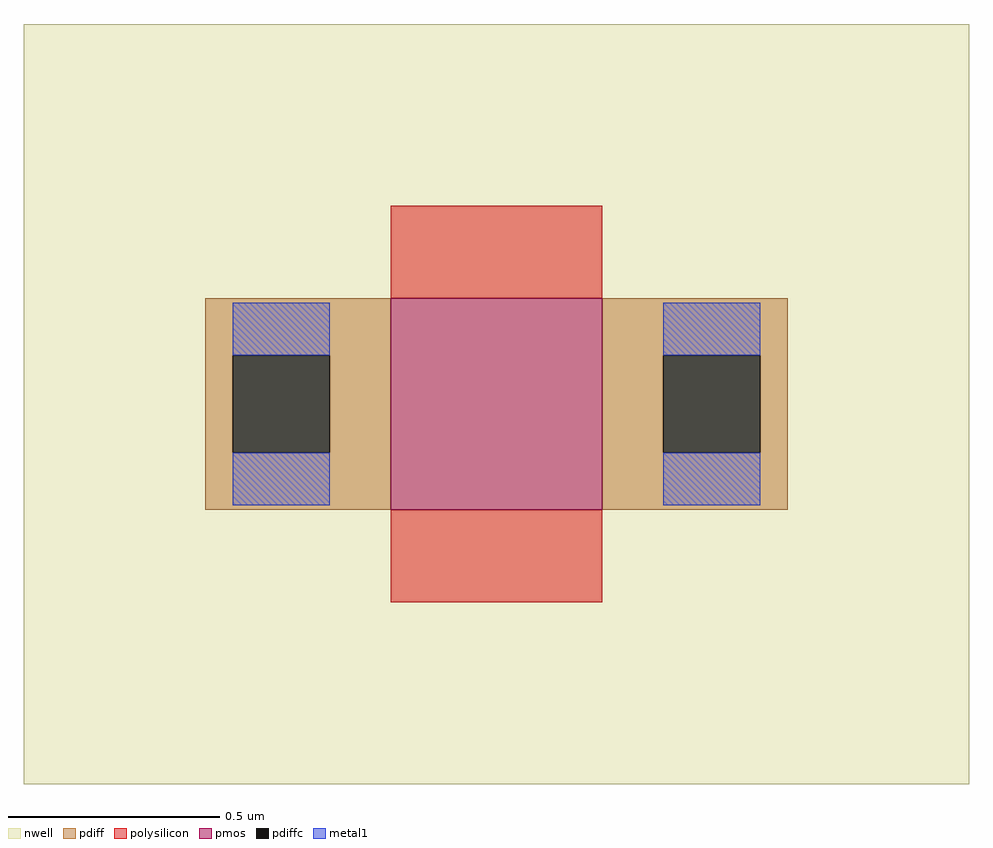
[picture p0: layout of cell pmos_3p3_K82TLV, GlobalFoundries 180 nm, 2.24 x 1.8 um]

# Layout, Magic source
magic
tech gf180mcuD
magscale 1 10
<< nwell >>
rect -224 -180 224 180
<< pmos >>
rect -50 -50 50 50
<< pdiff >>
rect -138 23 -50 50
rect -138 -23 -125 23
rect -79 -23 -50 23
rect -138 -50 -50 -23
rect 50 23 138 50
rect 50 -23 79 23
rect 125 -23 138 23
rect 50 -50 138 -23
<< pdiffc >>
rect -125 -23 -79 23
rect 79 -23 125 23
<< polysilicon >>
rect -50 50 50 94
rect -50 -94 50 -50
<< metal1 >>
rect -125 23 -79 48
rect -125 -48 -79 -23
rect 79 23 125 48
rect 79 -48 125 -23
<< end >>
